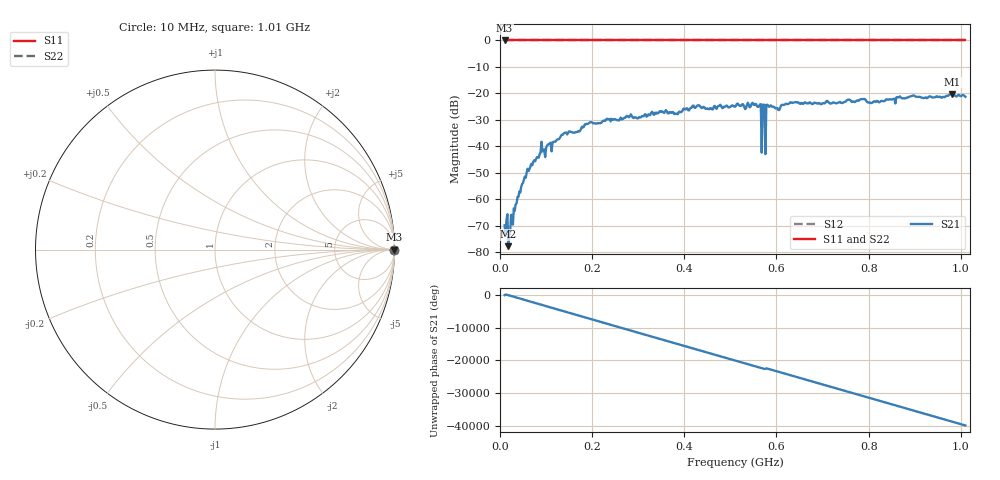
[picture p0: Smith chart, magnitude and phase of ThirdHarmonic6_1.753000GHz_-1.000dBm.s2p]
! 8/16/2025 9:09:13 PM
! C:\ANRITSUVNA\TEMP\TEMP.S2P
! CHANNEL.1
! TR.MEASUREMENT
! RAW.DATA
! RF.CORRECTION.OFF
! AVERAGING.OFF
! IF.BANDWIDTH: 5KHZ
! SWEEPTYPE:  FREQ.SWEEP(Linear)
! Reference Plane Port Info
! PORT:  PORT1  PORT2
! DISTANCE:  0  m  0  m
! TIME:  0  s  0  s
! PHASE.OFFSET:  0  deg.  0  deg.
! LOSS:  0  dB  0  dB
! REF.LOSS:  0  dB  0  dB
! REF.FREQ:  0  Hz  0  Hz
! Power Info
! POWER:  -20  dBm  -20  dBm
! EFF.POWER:  -20  dBm  -20  dBm
! SOURCE.ATTEN:  0  dB  0  dB
! TEST.ATTEN:  0  dB  0  dB
# GHZ S RI R 50.0
! FREQ.GHZ  S11RE  S11IM  S21RE  S21IM  S12RE  S12IM  S22RE  S22IM
!; PortSelection: Port_12
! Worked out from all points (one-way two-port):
!   501 points, 10 MHz to 1.01 GHz, reference 50 ohm
!   highest |S21| = -20.15 dB at 982 MHz (marker M1); lowest = -77.6 dB at 18 MHz (marker M2)
!   lowest |S11| = 0.0 dB at 10 MHz (marker M3)
!   |S11| at or under -10 dB: nowhere
!   |S22| runs from 0.0 to 0.0 dB; largest |S21 - S12| = 1.1
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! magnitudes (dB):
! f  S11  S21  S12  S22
! 10 MHz  0.0  -69.7  0.0  0.0
! 18 MHz  0.0  -77.6  0.0  0.0
! 22 MHz  0.0  -72.6  0.0  0.0
! 34 MHz  0.0  -61.8  0.0  0.0
! 56 MHz  0.0  -51.8  0.0  0.0
! 90 MHz  0.0  -38.2  0.0  0.0
! 138 MHz  0.0  -35.1  0.0  0.0
! 178 MHz  0.0  -32.5  0.0  0.0
! 344 MHz  0.0  -27.4  0.0  0.0
! 510 MHz  0.0  -25.0  0.0  0.0
! 562 MHz  0.0  -24.8  0.0  0.0
! 564 MHz  0.0  -24.2  0.0  0.0
! 570 MHz  0.0  -24.3  0.0  0.0
! 572 MHz  0.0  -24.3  0.0  0.0
! 574 MHz  0.0  -24.3  0.0  0.0
! 580 MHz  0.0  -24.2  0.0  0.0
! 582 MHz  0.0  -24.5  0.0  0.0
! 602 MHz  0.0  -25.5  0.0  0.0
! 678 MHz  0.0  -24.0  0.0  0.0
! 844 MHz  0.0  -22.3  0.0  0.0
! 982 MHz  0.0  -20.1  0.0  0.0
! 1.01 GHz  0.0  -21.3  0.0  0.0
